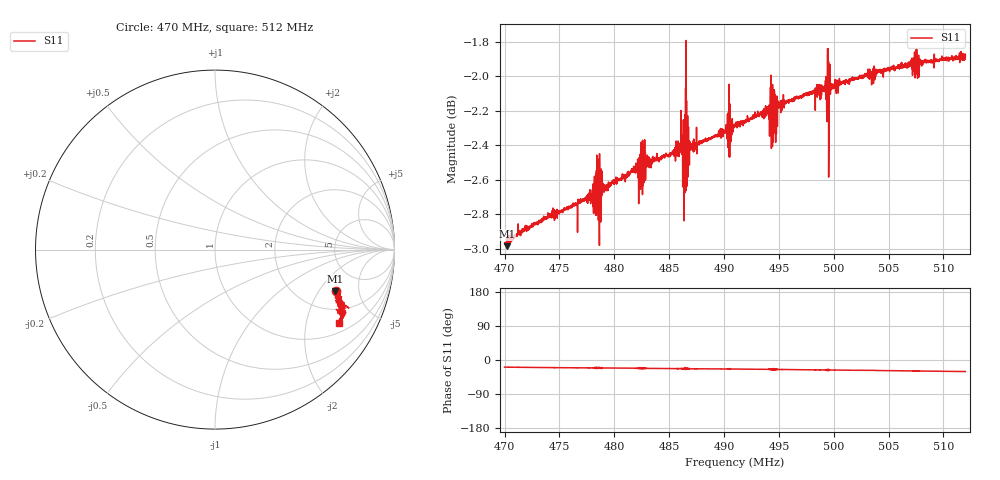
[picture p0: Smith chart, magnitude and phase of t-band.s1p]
! Calibrated averaged scanner-service zoom
# Hz S RI R 50
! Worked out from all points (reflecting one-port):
!   4001 points, 470 MHz to 512 MHz, reference 50 ohm
!   lowest |S11| = -3.0 dB at 470.2 MHz (marker M1), VSWR 5.87, Z = 153 - j143 ohm
!   phase of S11 starts at -19 deg and turns -12 deg over the sweep
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4.7e8  0.6724 -0.2293
4.702205e8  0.6702 -0.2315
4.7525e8  0.6811 -0.2525
4.7819e8  0.6943 -0.2644
4.786205e8  0.7025 -0.2461
4.79051e8  0.6877 -0.265
4.805e8  0.6909 -0.2701
4.822115e8  0.6877 -0.2773
4.82621e8  0.6965 -0.2777
4.8575e8  0.6952 -0.2894
4.860125e8  0.6974 -0.2932
4.86317e8  0.6985 -0.2907
4.867055e8  0.6955 -0.3029
4.868105e8  0.6919 -0.2873
4.87325e8  0.6965 -0.295
4.91e8  0.7024 -0.3112
4.93856e8  0.7052 -0.3235
4.940975e8  0.705 -0.3312
4.942865e8  0.7053 -0.3218
4.944965e8  0.6889 -0.3293
4.9478e8  0.7013 -0.3291
4.9625e8  0.7068 -0.3353
4.99316e8  0.6935 -0.3619
4.994e8  0.6923 -0.3384
4.998305e8  0.7078 -0.3515
5.015e8  0.7064 -0.3587
5.0675e8  0.7009 -0.3861
5.12e8  0.6934 -0.4083
